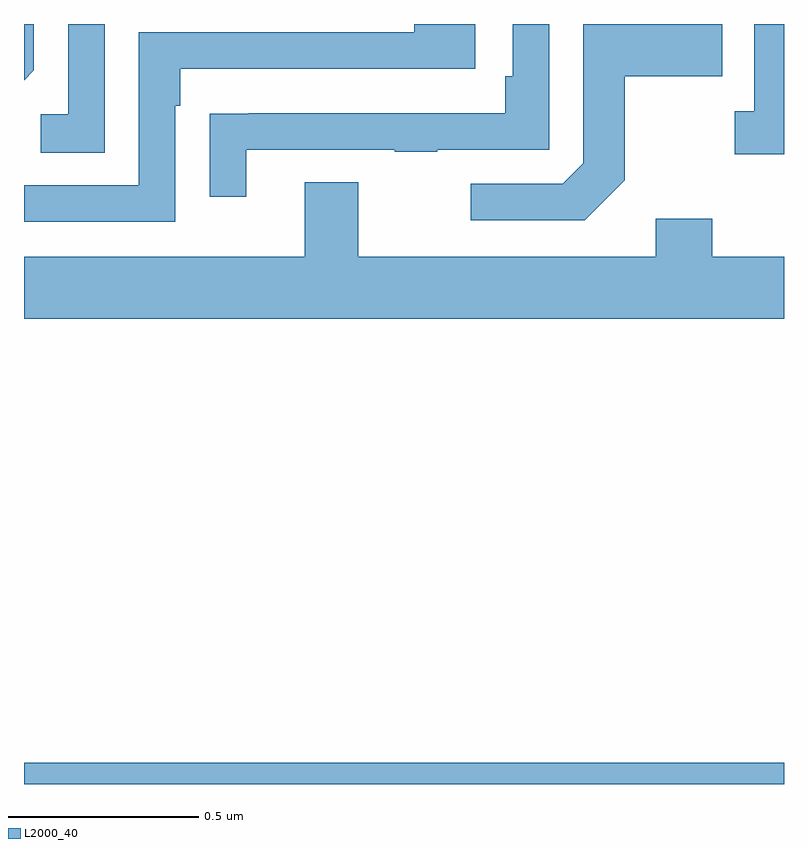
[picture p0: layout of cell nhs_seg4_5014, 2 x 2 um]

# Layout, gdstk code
import gdstk
lib = gdstk.Library(unit=1e-6, precision=1e-09)
def R(c, l, rs):  # rectangles x0, y0, x1, y1
    for r in rs: c.add(gdstk.rectangle(r[:2], r[2:], *l))
def P(c, l, *ps):  # polygons
    for p in ps: c.add(gdstk.Polygon(p, *l))
L2000_40 = (2000, 40)

nhs_seg4_5014 = lib.new_cell('nhs_seg4_5014')
R(nhs_seg4_5014, L2000_40, [(172,824.9,174,824.956)])
P(nhs_seg4_5014, L2000_40, [(174,826.9),(173.922,826.9),(173.922,826.67),(173.871,826.67),(173.871,826.557),(174,826.557)],
  [(173.581,826.489),(173.581,826.762),(173.837,826.762),(173.837,826.9),(173.472,826.9),(173.472,826.533),(173.418,826.479),(173.175,826.479),(173.175,826.383),(173.475,826.383)],
  [(172.212,826.9),(172.116,826.9),(172.116,826.662),(172.044,826.662),(172.044,826.561),(172.212,826.561)],
  [(172.026,826.778),(172.026,826.9),(172,826.9),(172,826.752)],
  [(172.398,826.685),(172.411,826.685),(172.411,826.782),(173.188,826.782),(173.188,826.9),(173.027,826.9),(173.027,826.878),(172.302,826.878),(172.302,826.476),(172,826.476),(172,826.38),(172.398,826.38)],
  [(172.585,826.569),(172.975,826.569),(172.975,826.564),(173.087,826.564),(173.087,826.569),(173.382,826.569),(173.382,826.9),(173.286,826.9),(173.286,826.762),(173.266,826.762),(173.266,826.665),(172.591,826.665),(172.591,826.664),(172.489,826.664),(172.489,826.446),(172.585,826.446)],
  [(174,826.288),(173.811,826.288),(173.811,826.387),(173.663,826.387),(173.663,826.288),(172.879,826.288),(172.879,826.483),(172.739,826.483),(172.739,826.288),(172,826.288),(172,826.124),(174,826.124)])

lib.write_gds('nhs_seg4_5014.gds')
